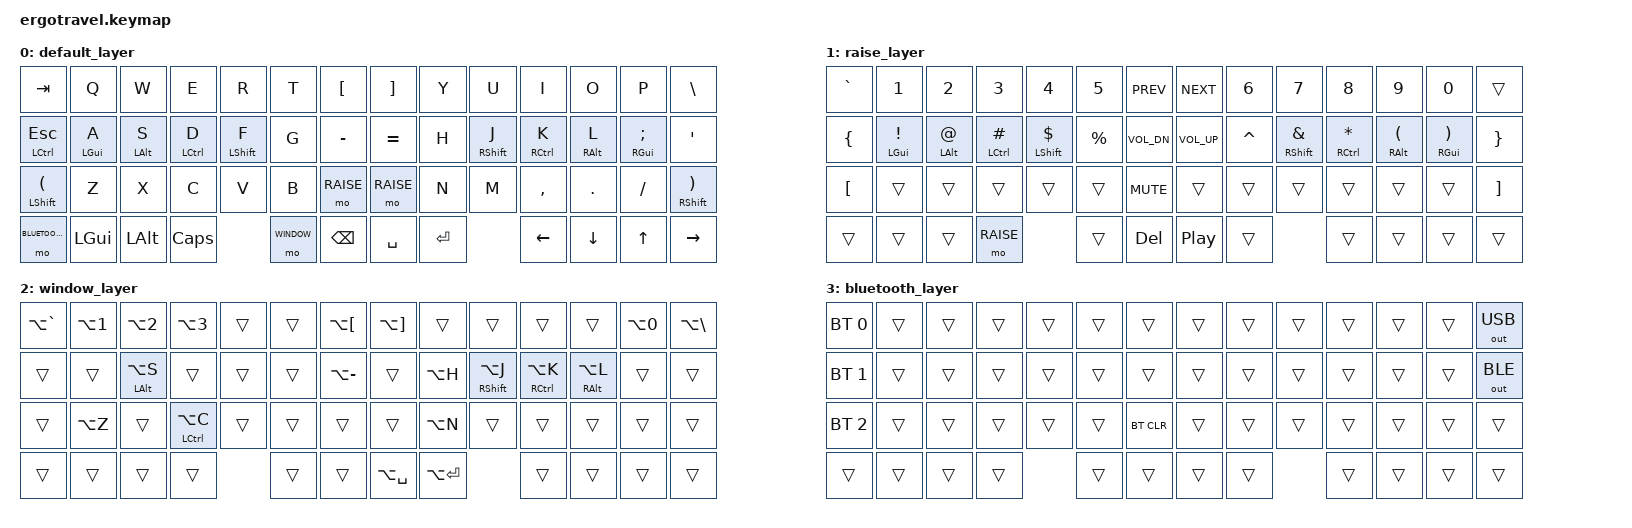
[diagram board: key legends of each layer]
/*
 * Copyright (c) 2020 The ZMK Contributors
 *
 * SPDX-License-Identifier: MIT
 */
#include <behaviors.dtsi>
#include <dt-bindings/zmk/keys.h>
#include <dt-bindings/zmk/bt.h>
#include <dt-bindings/zmk/ext_power.h>
#include <dt-bindings/zmk/outputs.h>

#define DEFAULT 0
#define RAISE 1
#define WINDOW 2
#define BLUETOOTH 3

/ {
	behaviors {
		hm: homerow_mods {
			compatible = "zmk,behavior-hold-tap";
			label = "HOMEROW_MODS";
			#binding-cells = <2>;
			tapping-term-ms = <150>;
			quick_tap_ms = <0>;
			flavor = "tap-preferred";
			bindings = <&kp>, <&kp>;
		};
  };

	keymap {
		compatible = "zmk,keymap";

		default_layer {
    bindings = <
&kp TAB        &kp Q      &kp W      &kp E        &kp R       &kp T      &kp LBKT        &kp RBKT  &kp Y     &kp U       &kp I       &kp O      &kp P         &kp BSLH 
&mt LCTRL ESC  &hm LGUI A &hm LALT S &hm LCTRL D  &hm LSHFT F &kp G      &kp MINUS       &kp EQUAL &kp H     &hm RSHFT J &hm RCTRL K &hm RALT L &hm RGUI SEMI &kp SINGLE_QUOTE 
&mt LSHFT LPAR &kp Z      &kp X      &kp C        &kp V       &kp B      &mo RAISE       &mo RAISE &kp N     &kp M       &kp COMMA   &kp DOT    &kp FSLH      &mt RSHFT RPAR
&mo BLUETOOTH  &kp LGUI   &kp LALT   &kp CAPSLOCK             &mo WINDOW &kp BSPC        &kp SPC   &kp ENTER             &kp LEFT    &kp DOWN   &kp UP        &kp RIGHT
>;
		};

    raise_layer {
    bindings = <
&kp GRAVE &kp N1        &kp N2      &kp N3         &kp N4         &kp N5    &kp C_PREV         &kp C_NEXT       &kp N6    &kp N7         &kp N8           &kp N9        &kp N0        &trans
&kp LBRC  &hm LGUI EXCL &hm LALT AT &hm LCTRL HASH &hm LSHFT DLLR &kp PRCNT &kp C_VOL_DN       &kp C_VOL_UP     &kp CARET &hm RSHFT AMPS &hm RCTRL STAR   &hm RALT LPAR &hm RGUI RPAR &kp RBRC
&kp LBKT  &trans        &trans      &trans         &trans         &trans    &kp C_MUTE         &trans           &trans    &trans         &trans           &trans        &trans        &kp RBKT
&trans    &trans        &trans      &mo RAISE                     &trans    &kp DEL            &kp C_PLAY_PAUSE &trans                   &trans           &trans        &trans        &trans
>;
    };

    window_layer {
    bindings = <
&kp LA(GRAVE) &kp LA(N1) &kp LA(N2)     &kp LA(N3)      &trans &trans &kp LA(LBKT)        &kp LA(RBKT) &trans        &trans          &trans          &trans         &kp LA(N0) &kp LA(BSLH)
&trans        &trans     &hm LALT LA(S) &trans          &trans &trans &kp LA(MINUS)       &trans       &kp LA(H)     &hm RSHFT LA(J) &hm RCTRL LA(K) &hm RALT LA(L) &trans     &trans
&trans        &kp LA(Z)  &trans         &hm LCTRL LA(C) &trans &trans &trans              &trans       &kp LA(N)     &trans          &trans          &trans         &trans     &trans
&trans        &trans     &trans         &trans                 &trans &trans              &kp LA(SPC)  &kp LA(ENTER)                 &trans          &trans         &trans     &trans
>;
    };

    bluetooth_layer {
    bindings = <
&bt BT_SEL 0 &trans &trans &trans &trans &trans &trans              &trans &trans &trans &trans &trans &trans &out OUT_USB
&bt BT_SEL 1 &trans &trans &trans &trans &trans &trans              &trans &trans &trans &trans &trans &trans &out OUT_BLE
&bt BT_SEL 2 &trans &trans &trans &trans &trans &bt BT_CLR          &trans &trans &trans &trans &trans &trans &trans
&trans       &trans &trans &trans        &trans &trans              &trans &trans        &trans &trans &trans &trans
>;
    };
	};
};
